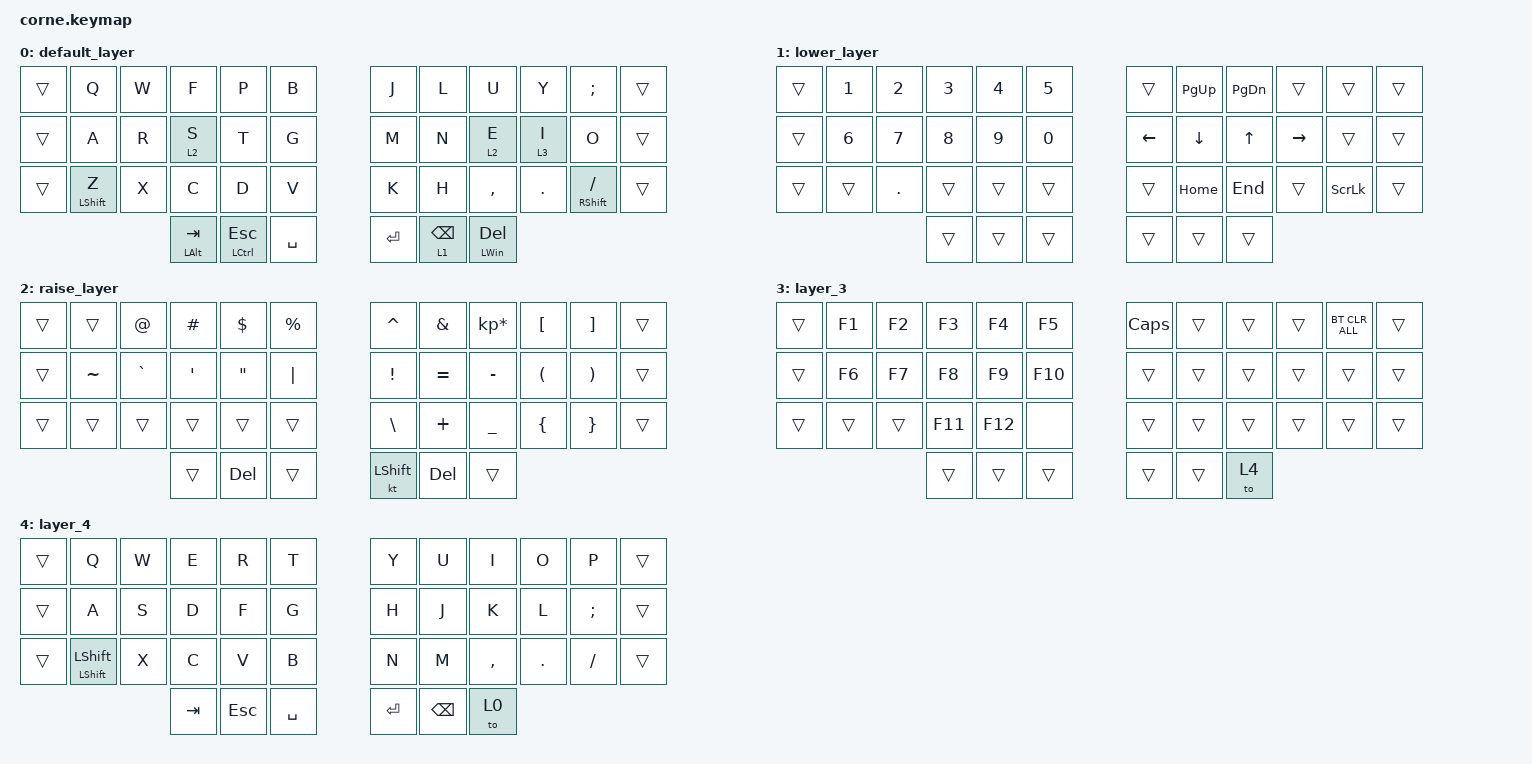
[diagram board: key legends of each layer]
/*
 * Copyright (c) 2020 The ZMK Contributors
 *
 * SPDX-License-Identifier: MIT
 */

#include <behaviors.dtsi>
#include <dt-bindings/zmk/bt.h>
#include <dt-bindings/zmk/keys.h>

// doc: https://zmk.dev/docs/keymaps/behaviors/hold-tap
// example: https://github.com/jamiethemorris/zmk-config/blob/master/config/sofle.keymap
// for &lt only

&lt {
    //require-prior-idle-ms = <50>;
    // not good, s+u quickly -> *, ctrl+s require quick tapping s
    //tapping-term-ms = <120>;
    //quick-tap-ms = <200>;
    //flavor = "tap-preferred";

    tapping-term-ms = <120>;
    quick-tap-ms = <200>;
    flavor = "balanced";

    //flavor = "hold-preferred";
    // flavor = "balanced";
};

// for &mt only

&mt {
    tapping-term-ms = <200>;
    quick-tap-ms = <200>;

    //require-prior-idle-ms = <50>;

    flavor = "hold-preferred";
};

/ {
    behaviors {
        // for keys like control, trigger hold behavior immediately, without the `require-prior-idle-ms`
        //mt2: mod-tap-2 {
        //	// compatible = "zmk,behavior-hold-tap";
        //	compatible = "zmk,behavior-mod-morph";
        //	tapping-term-ms = <200>;
        //	quick-tap-ms = <200>;
        //	flavor = "hold-preferred";
        //	#binding-cells = <0>;
        //	bindings = <&kp>, <&kp>;
        //};
        // for keys like control, trigger hold behavior immediately, without the `require-prior-idle-ms`

        Bs: Bs {
            compatible = "zmk,behavior-hold-tap";
            tapping-term-ms = <200>;
            quick-tap-ms = <200>;
            flavor = "hold-preferred";
            #binding-cells = <2>;
            bindings = <&mo>, <&kp>;

            label = "BS";
        };

        HmShiftR: HmShiftR {
            compatible = "zmk,behavior-hold-tap";
            label = "HMSHIFTR";
            bindings = <&kp>, <&kp>;

            #binding-cells = <2>;
            tapping-term-ms = <120>;
            hold-while-undecided;
            hold-trigger-key-positions = <0 1 2 4 5 12 13 14 15 16 17 24 25 26 27 28 29 36 37 38 3>;
            hold-trigger-on-release;
            quick-tap-ms = <200>;
        };

        HmShiftL: HmShiftL {
            compatible = "zmk,behavior-hold-tap";
            label = "HMSHIFTL";
            bindings = <&kp>, <&kp>;

            #binding-cells = <2>;
            tapping-term-ms = <120>;
            hold-while-undecided;
            hold-trigger-on-release;
            hold-trigger-key-positions = <6 7 8 9 10 11 18 19 20 21 22 23 30 31 32 33 34 35 39 40 41>;
            quick-tap-ms = <200>;
        };

        LtR: LtR {
            compatible = "zmk,behavior-hold-tap";
            label = "LTR";
            bindings = <&mo>, <&kp>;

            #binding-cells = <2>;
            tapping-term-ms = <120>;
            hold-while-undecided;
            hold-trigger-key-positions = <0 1 2 4 5 12 13 14 15 16 17 24 25 26 27 28 29 36 37 38 3>;
            hold-trigger-on-release;
            quick-tap-ms = <200>;
        };

        LtL: LtL {
            compatible = "zmk,behavior-hold-tap";
            label = "LTL";
            bindings = <&mo>, <&kp>;

            #binding-cells = <2>;
            tapping-term-ms = <120>;
            hold-while-undecided;
            hold-trigger-on-release;
            hold-trigger-key-positions = <6 7 8 9 10 11 18 19 20 21 22 23 30 31 32 33 34 35 39 40 41>;
            quick-tap-ms = <200>;
        };
    };

    keymap {
        compatible = "zmk,keymap";

        default_layer {
            bindings = <
&trans  &kp Q                   &kp W  &kp F             &kp P          &kp B        &kp J      &kp L            &kp U         &kp Y    &kp SEMI                &trans
&trans  &kp A                   &kp R  &lt 2 S           &kp T          &kp G        &kp M      &kp N            &lt 2 E       &lt 3 I  &kp O                   &trans
&trans  &HmShiftL LEFT_SHIFT Z  &kp X  &kp C             &kp D          &kp V        &kp K      &kp H            &kp COMMA     &kp DOT  &HmShiftR RSHIFT SLASH  &trans
                                       &mt LEFT_ALT TAB  &mt LCTRL ESC  &kp SPACE    &kp ENTER  &Bs 1 BACKSPACE  &mt LWIN DEL
            >;
        };

        lower_layer {
            bindings = <
&trans  &kp N1  &kp N2   &kp N3  &kp N4  &kp N5    &trans    &kp PAGE_UP  &kp PAGE_DOWN  &trans     &trans          &trans
&trans  &kp N6  &kp N7   &kp N8  &kp N9  &kp N0    &kp LEFT  &kp DOWN     &kp UP         &kp RIGHT  &trans          &trans
&trans  &trans  &kp DOT  &trans  &trans  &trans    &trans    &kp HOME     &kp END        &trans     &kp SCROLLLOCK  &trans
                         &trans  &trans  &trans    &trans    &trans       &trans
            >;
        };

        raise_layer {
            bindings = <
&trans  &trans     &kp AT     &kp HASH          &kp DLLR           &kp PERCENT    &kp CARET        &kp AMPS   &kp KP_MULTIPLY  &kp LEFT_BRACKET      &kp RIGHT_BRACKET      &trans
&trans  &kp TILDE  &kp GRAVE  &kp SINGLE_QUOTE  &kp DOUBLE_QUOTES  &kp PIPE       &kp EXCLAMATION  &kp EQUAL  &kp MINUS        &kp LEFT_PARENTHESIS  &kp RIGHT_PARENTHESIS  &trans
&trans  &trans     &trans     &trans            &trans             &trans         &kp BACKSLASH    &kp PLUS   &kp UNDER        &kp LEFT_BRACE        &kp RIGHT_BRACE        &trans
                              &trans            &kp DEL            &trans         &kt LEFT_SHIFT   &kp DEL    &trans
            >;
        };

        layer_3 {
            bindings = <
&trans  &kp F1  &kp F2  &kp F3   &kp F4   &kp F5     &kp CAPS  &trans  &trans  &trans  &bt BT_CLR_ALL  &trans
&trans  &kp F6  &kp F7  &kp F8   &kp F9   &kp F10    &trans    &trans  &trans  &trans  &trans          &trans
&trans  &trans  &trans  &kp F11  &kp F12  &none      &trans    &trans  &trans  &trans  &trans          &trans
                        &trans   &trans   &trans     &trans    &trans  &to 4
            >;
        };

        layer_4 {
            bindings = <
&trans  &kp Q            &kp W  &kp E    &kp R       &kp T        &kp Y      &kp U          &kp I      &kp O       &kp P          &trans
&trans  &kp A            &kp S  &kp D    &kp F       &kp G        &kp H      &kp J          &kp K      &kp L       &kp SEMICOLON  &trans
&trans  &mt LSHFT LSHFT  &kp X  &kp C    &kp V       &kp B        &kp N      &kp M          &kp COMMA  &kp PERIOD  &kp SLASH      &trans
                                &kp TAB  &kp ESCAPE  &kp SPACE    &kp ENTER  &kp BACKSPACE  &to 0
            >;
        };
    };
};
